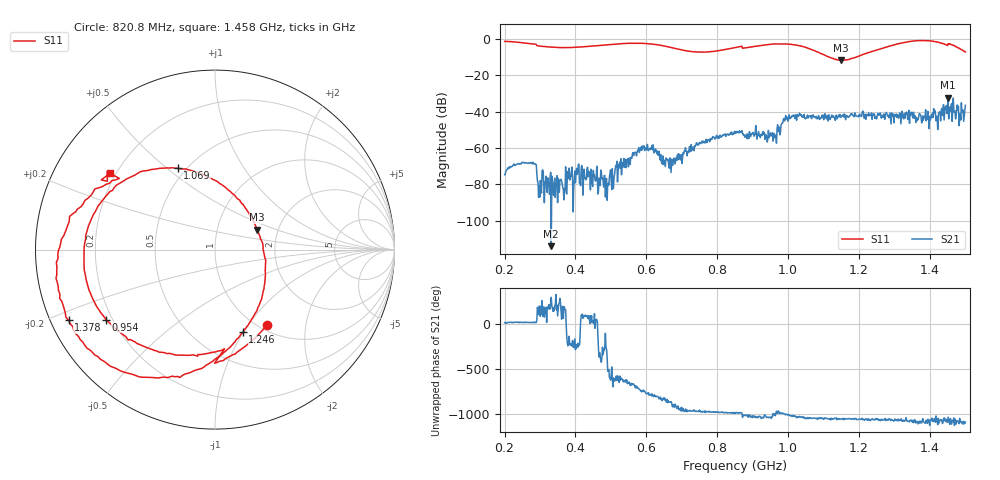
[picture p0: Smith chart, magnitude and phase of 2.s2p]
! NanoVNA-App
! Date: 2024-06-25 16:51:05
! Start: 200MHz Stop: 1.5GHz Points: 801
! S-Parameter data: F S11 S21 S12 S22
# Hz S RI R 50
!  Frequency  S11_Real  S11_Imag  S21_Real  S21_Imag  S12_Real  S12_Imag  S22_Real  S22_Imag
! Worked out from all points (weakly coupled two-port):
!   801 points, 200 MHz to 1.5 GHz, reference 50 ohm
!   highest |S21| = -32.27 dB at 1.451 GHz (marker M1); lowest = -114.0 dB at 331.6 MHz (marker M2)
!   lowest |S11| = -11.7 dB at 1.149 GHz (marker M3), VSWR 1.70, Z = 78 + j18.7 ohm
!   |S11| at or under -10 dB: 1.116 GHz to 1.191 GHz (75.27 MHz wide, 6.52 % of centre)
!   S12 and S22 are empty: the file has one direction only
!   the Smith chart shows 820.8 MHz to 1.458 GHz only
!   S11 on the Smith chart (normalised r, x): 820.8 MHz: 1.09, -1.24; 954 MHz: 0.18, -0.29; 1.069 GHz: 0.45, +0.54; 1.246 GHz: 0.82, -0.99; 1.378 GHz: 0.05, -0.23; 1.458 GHz: 0.18, +0.32
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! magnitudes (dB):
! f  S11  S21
! 200 MHz  -1.3  -74.7
! 274.8 MHz  -2.6  -68.0
! 297.5 MHz  -3.8  -80.9
! 331.6 MHz  -4.5  -114.0
! 417.8 MHz  -4.3  -69.6
! 489.2 MHz  -3.2  -88.8
! 581.9 MHz  -2.3  -60.3
! 633.9 MHz  -3.3  -63.9
! 669.6 MHz  -4.7  -73.5
! 820.8 MHz  -5.9  -52.4
! 850 MHz  -4.7  -51.9
! 954 MHz  -2.8  -53.2
! 991.4 MHz  -2.7  -44.0
! 1.068 GHz  -5.9  -42.5
! 1.069 GHz  -6.0  -41.8
! 1.149 GHz  -11.7  -43.1
! 1.246 GHz  -6.3  -42.7
! 1.284 GHz  -4.1  -43.3
! 1.378 GHz  -0.9  -45.5
! 1.451 GHz  -2.6  -32.3
! 1.458 GHz  -2.8  -39.6
! 1.5 GHz  -7.1  -36.5
